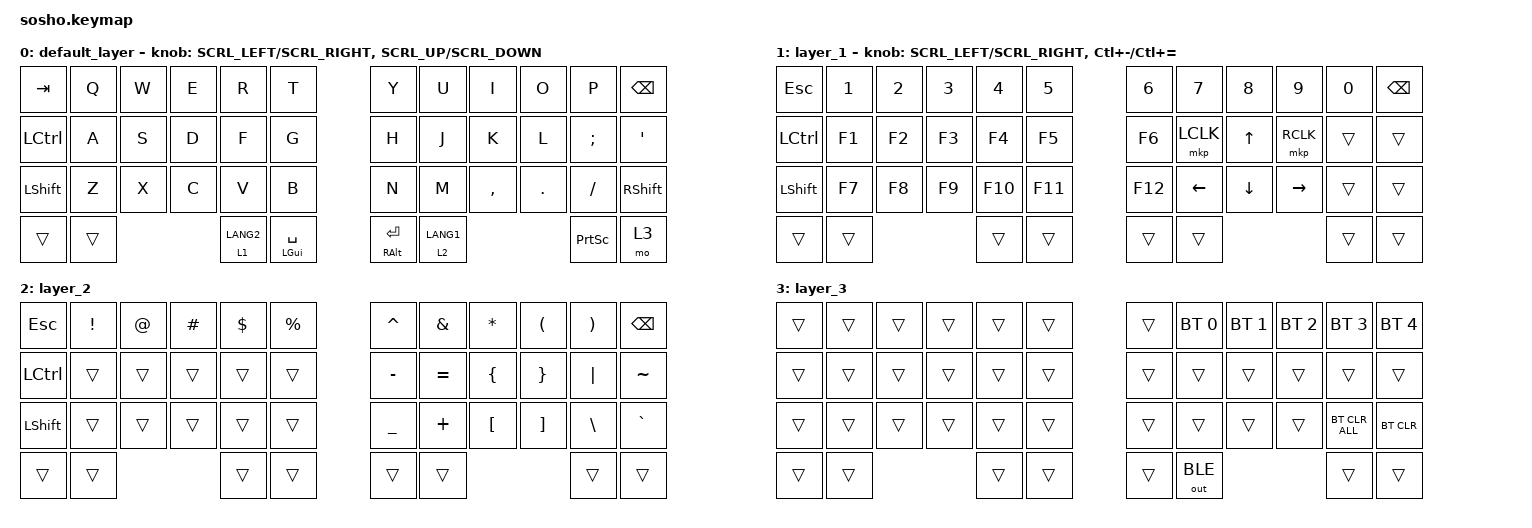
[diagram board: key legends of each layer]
//スクロール量の調整(デフォルト150)
#define ZMK_POINTING_DEFAULT_SCRL_VAL 150

#include <behaviors.dtsi>
#include <dt-bindings/zmk/bt.h>
#include <dt-bindings/zmk/keys.h>
#include <dt-bindings/zmk/pointing.h>
#include <dt-bindings/zmk/outputs.h>

/ {
	behaviors {
		//エンコーダにスクロールを割り当てるためのビヘイビア
		msc_ec_l: sensor_rotation_scroll_L {
	        compatible = "zmk,behavior-sensor-rotate-var";
            #sensor-binding-cells = <2>;
            bindings = <&msc>, <&msc>;
			tap-ms = <20>;
        };
		msc_ec_r: sensor_rotation_scroll_R {
	        compatible = "zmk,behavior-sensor-rotate-var";
            #sensor-binding-cells = <2>;
            bindings = <&msc>, <&msc>;
			tap-ms = <20>;
        };
	};
};

//スクロールの調整
&msc {
    time-to-max-speed-ms = <0>;   // 即座に最大速度（加速なし）
    acceleration-exponent = <0>;   // 加速なし
};
/{
    combos {
        compatible = "zmk,combos";
        prioritize-longer-keys;
		//左クリックのコンボ 19 J 20 K
	    combo_LCLK {
            timeout-ms = <50>;
            key-positions = <19 20>;
            bindings = <&mkp LCLK>;
        };

		//右クリックのコンボ 20 K 21 L
        combo_RCLK {
            timeout-ms = <50>;
            key-positions = <20 21>;
            bindings = <&mkp RCLK>;
        };

		//ホイールクリックのコンボ 19 J 21 L
	    combo_MCLK {
            timeout-ms = <90>;
            key-positions = <19 21>;
            bindings = <&mkp MCLK>;
        };

		//作ったけど消した。ポインティングデバイスをスクロールにしたい人向け
		//31 M 32 ,
		//combo_SCROLL {
        //    timeout-ms = <50>;
        //    key-positions = <31 32>;
        //    bindings = <&mo 4>;
        //};
    };
};

/{
keymap {
        compatible = "zmk,keymap";

        // -----------------------------------------------------------------------------------------
        // LAYER 0: Default Layer (最下段カスタム仕様)
        // -----------------------------------------------------------------------------------------
        default_layer {
            bindings = <
    &kp TAB    &kp Q   &kp W  &kp E  &kp R  &kp T       &kp Y  &kp U  &kp I      &kp O    &kp P     &kp BSPC
    &kp LCTRL  &kp A   &kp S  &kp D  &kp F  &kp G       &kp H  &kp J  &kp K      &kp L    &kp SEMI  &kp SQT
    &kp LSHFT  &kp Z   &kp X  &kp C  &kp V  &kp B       &kp N  &kp M  &kp COMMA  &kp DOT  &kp SLASH &kp RSHFT
    &trans     &trans         &lt 1 LANG2   &mt LGUI SPACE   &mt RALT RET  &lt 2 LANG1         &kp PSCRN &mo 3
            >;
            // トラックボール/パッドによるスクロールバインディング
            sensor-bindings = <&msc_ec_l SCRL_LEFT SCRL_RIGHT &msc_ec_r SCRL_UP SCRL_DOWN>;
        };

        // -----------------------------------------------------------------------------------------
        // LAYER 1: Lower (Keyball44風 数字・ナビゲーション・マウスボタン)
        // -----------------------------------------------------------------------------------------
        layer_1 {
            bindings = <
    &kp ESC    &kp N1  &kp N2  &kp N3  &kp N4  &kp N5      &kp N6   &kp N7    &kp N8   &kp N9    &kp N0  &kp BSPC
    &kp LCTRL  &kp F1  &kp F2  &kp F3  &kp F4  &kp F5      &kp F6   &mkp LCLK &kp UP   &mkp RCLK &trans  &trans
    &kp LSHFT  &kp F7  &kp F8  &kp F9  &kp F10 &kp F11     &kp F12  &kp LEFT  &kp DOWN &kp RIGHT &trans  &trans
    &trans     &trans                   &trans  &trans      &trans   &trans                        &trans  &trans
            >;
            sensor-bindings = <&msc_ec_l SCRL_LEFT SCRL_RIGHT &inc_dec_kp LC(MINUS) LC(EQUAL)>;
        };

        // -----------------------------------------------------------------------------------------
        // LAYER 2: Raise (Keyball44画像から100%復元した記号レイヤー)
        // -----------------------------------------------------------------------------------------
        layer_2 {
            bindings = <
    &kp ESC    &kp EXCL &kp AT   &kp HASH &kp DLLR &kp PRCNT   &kp CARET &kp AMPS  &kp ASTRK &kp LPAR &kp RPAR &kp BSPC
    &kp LCTRL  &trans   &trans   &trans   &trans   &trans      &kp MINUS &kp EQUAL &kp LBRC  &kp RBRC &kp PIPE &kp TILDE
    &kp LSHFT  &trans   &trans   &trans   &trans   &trans      &kp UNDER &kp PLUS  &kp LBKT  &kp RBKT &kp BSLH  &kp GRAVE
    &trans     &trans                     &trans   &trans      &trans    &trans                       &trans   &trans
            >;
        };

        // -----------------------------------------------------------------------------------------
        // LAYER 3: BT/System
        // -----------------------------------------------------------------------------------------
        layer_3 {
            bindings = <
    &trans &trans &trans &trans &trans &trans      &trans  &bt BT_SEL 0  &bt BT_SEL 1  &bt BT_SEL 2  &bt BT_SEL 3   &bt BT_SEL 4
    &trans &trans &trans &trans &trans &trans      &trans  &trans        &trans        &trans        &trans         &trans
    &trans &trans &trans &trans &trans &trans      &trans  &trans        &trans        &trans        &bt BT_CLR_ALL &bt BT_CLR
    &trans &trans                      &trans      &trans  &trans        &out OUT_BLE                               &trans &trans
            >;
        };
    };
};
